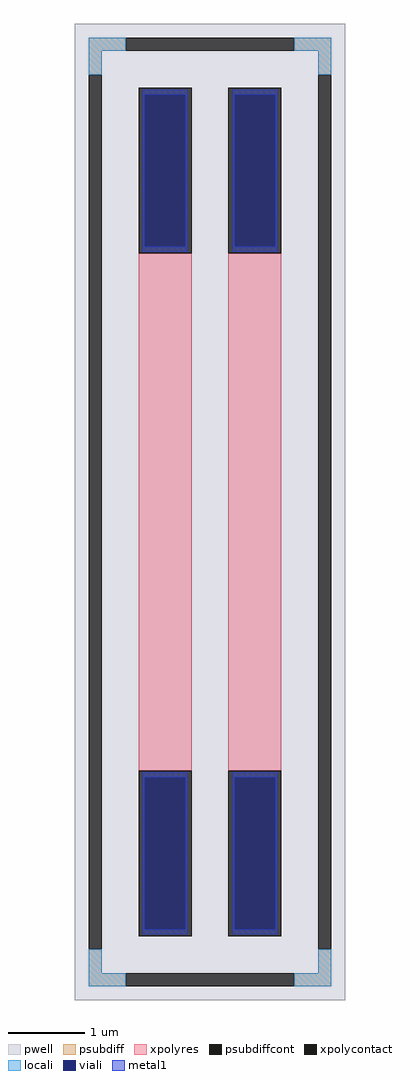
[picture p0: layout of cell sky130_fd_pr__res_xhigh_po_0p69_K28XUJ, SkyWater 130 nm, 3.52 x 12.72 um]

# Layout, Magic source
magic
tech sky130A
magscale 1 2
<< pwell >>
rect -352 -1272 352 1272
<< psubdiff >>
rect -316 1202 -220 1236
rect 220 1202 316 1236
rect -316 1140 -282 1202
rect 282 1140 316 1202
rect -316 -1202 -282 -1140
rect 282 -1202 316 -1140
rect -316 -1236 -220 -1202
rect 220 -1236 316 -1202
<< psubdiffcont >>
rect -220 1202 220 1236
rect -316 -1140 -282 1140
rect 282 -1140 316 1140
rect -220 -1236 220 -1202
<< xpolycontact >>
rect -186 674 -48 1106
rect -186 -1106 -48 -674
rect 48 674 186 1106
rect 48 -1106 186 -674
<< xpolyres >>
rect -186 -674 -48 674
rect 48 -674 186 674
<< locali >>
rect -316 1202 -220 1236
rect 220 1202 316 1236
rect -316 1140 -282 1202
rect 282 1140 316 1202
rect -316 -1202 -282 -1140
rect 282 -1202 316 -1140
rect -316 -1236 -220 -1202
rect 220 -1236 316 -1202
<< viali >>
rect -170 691 -64 1088
rect 64 691 170 1088
rect -170 -1088 -64 -691
rect 64 -1088 170 -691
<< metal1 >>
rect -176 1088 -58 1100
rect -176 691 -170 1088
rect -64 691 -58 1088
rect -176 679 -58 691
rect 58 1088 176 1100
rect 58 691 64 1088
rect 170 691 176 1088
rect 58 679 176 691
rect -176 -691 -58 -679
rect -176 -1088 -170 -691
rect -64 -1088 -58 -691
rect -176 -1100 -58 -1088
rect 58 -691 176 -679
rect 58 -1088 64 -691
rect 170 -1088 176 -691
rect 58 -1100 176 -1088
<< properties >>
string FIXED_BBOX -299 -1219 299 1219
string gencell sky130_fd_pr__res_xhigh_po_0p69
string library sky130
string parameters w 0.69 l 6.9 m 1 nx 2 wmin 0.690 lmin 0.50 rho 2000 val 20.545k dummy 0 dw 0.0 term 188.2 sterm 0.0 caplen 0 wmax 0.690 guard 1 glc 1 grc 1 gtc 1 gbc 1 compatible {sky130_fd_pr__res_xhigh_po_0p35  sky130_fd_pr__res_xhigh_po_0p69 sky130_fd_pr__res_xhigh_po_1p41  sky130_fd_pr__res_xhigh_po_2p85 sky130_fd_pr__res_xhigh_po_5p73} snake 0 full_metal 1 n_guard 0 hv_guard 0 vias 1 viagb 0 viagt 0 viagl 0 viagr 0
<< end >>
